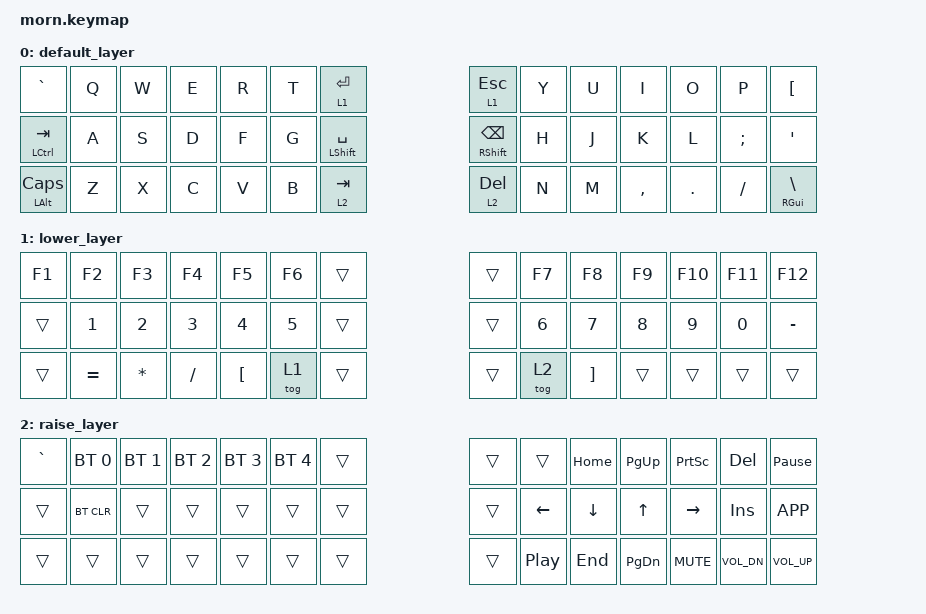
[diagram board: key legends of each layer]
#include <behaviors.dtsi>
#include <dt-bindings/zmk/behaviors.h>
#include <dt-bindings/zmk/keys.h>
#include <dt-bindings/zmk/bt.h>

/ {
	behaviors {
            mt: mod_tap {
            	compatible = "zmk,behavior-hold-tap";
            	#binding-cells = <2>;
            	flavor = "hold-preferred";
            	tapping-term-ms = <170>;
            	bindings = <&kp>, <&kp>;
            	display-name = "Mod-Tap";
            };
	    lt: layer_tap {
            	compatible = "zmk,behavior-hold-tap";
            	#binding-cells = <2>;
            	flavor = "tap-preferred";
            	tapping-term-ms = <170>;
            	bindings = <&mo>, <&kp>;
            	display-name = "Layer-Tap";
            };
    	};
        keymap {
                compatible = "zmk,keymap";

                default_layer {
// --------------------------------------------------------------------------------------------------------------
// |   `      |  Q  |  W  |  E  |  R  |  T  |  LOW/ENT  |     |  LOW/ESC  |  Y  |  U  |  I  |  O  |  P  |  [     |
// | TAB/CTRL |  A  |  S  |  D  |  F  |  G  |  SHFT/SP  |     |  SHFT/BS  |  H  |  J  |  K  |  L  |  ;  |  '     |
// | CAPS/ALT |  Z  |  X  |  C  |  V  |  B  |  RISE/TAB |     |  RISE/DEL |  N  |  M  |  ,  |  .  |  /  |  \/GUI |
                        bindings = <
   &kp GRAVE       &kp Q  &kp W  &kp E  &kp R  &kp T  &lt 1 ENTER          &lt 1 ESC        &kp Y  &kp U  &kp I      &kp O    &kp P     &kp LBKT
   &mt LCTRL TAB   &kp A  &kp S  &kp D  &kp F  &kp G  &mt LSHIFT SPACE     &mt RSHIFT BSPC  &kp H  &kp J  &kp K      &kp L    &kp SEMI  &kp SQT
   &mt LALT CAPS   &kp Z  &kp X  &kp C  &kp V  &kp B  &lt 2 TAB            &lt 2 DEL        &kp N  &kp M  &kp COMMA  &kp DOT  &kp FSLH  &mt RGUI BACKSLASH
                        >;
                };
                lower_layer {
// --------------------------------------------------------------------------------------------------------
// |   F1     |  F2 |  F3 |  F4 |  F5 |  F6  |    |           |    |  F7   |  F8  |  F9 | F10 | F11 | F12 |
// | TAB/CTRL |  1  |  2  |  3  |  4  |  5   |    |           |    |  6    |  7   |  8  |  9  |  0  | -   |
// | CAPS/ALT |  =  |  *  |  /  |  [  |  LOW |    |           |    |  RISE |  ]   |  ,  |  .  |  /  |  \  |
			bindings = <
   &kp F1   &kp F2     &kp F3     &kp F4    &kp F5    &kp F6  &trans       &trans  &kp F7  &kp F8    &kp F9   &kp F10   &kp F11  &kp F12
   &trans   &kp N1     &kp N2     &kp N3    &kp N4    &kp N5  &trans       &trans  &kp N6  &kp N7    &kp N8   &kp N9    &kp N0   &kp MINUS
   &trans   &kp EQUAL  &kp ASTRK  &kp FSLH  &kp LBKT  &tog 1  &trans       &trans  &tog 2  &kp RBKT  &trans   &trans    &trans   &trans
			>;
		};
		raise_layer {
// ---------------------------------------------------------------------------------------------------------------------------------
// |       |  BT1  |  BT2  |  BT3  |  BT4  |  BT5  |    |         |     |        |  HOME | PG_UP | PSCRN  |  DEL     | PAUSE_BREAK |
// |       | BTCLR |       |       |       |       |    |         |     |  LEFT  |  DOWN |  UP   | RIGHT  |  INS     | K_APP       |
// |       |       |       |       |       |       |    |         |     |  C_PP  |  END  | PG_DN | C_MUTE | C_VOL_DN | C_VOL_UP    |
                        bindings = <
   &kp GRAVE &bt BT_SEL 0 &bt BT_SEL 1 &bt BT_SEL 2 &bt BT_SEL 3 &bt BT_SEL 4 &trans        &trans &trans    &kp HOME &kp PG_UP &kp PSCRN  &kp DEL       &kp PAUSE_BREAK
   &trans    &bt BT_CLR   &trans       &trans       &trans       &trans       &trans        &trans &kp LEFT  &kp DOWN &kp UP    &kp RIGHT  &kp INS       &kp K_APP
   &trans    &trans       &trans       &trans       &trans       &trans       &trans        &trans &kp C_PP  &kp END  &kp PG_DN &kp C_MUTE &kp C_VOL_DN  &kp C_VOL_UP
                        >;
                };
        };
};
